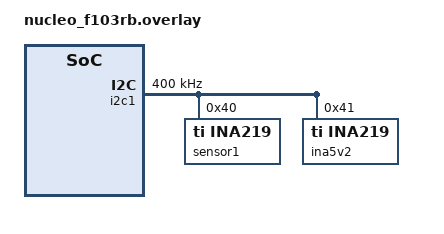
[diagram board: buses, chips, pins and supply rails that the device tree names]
/* SPDX-License-Identifier: Apache-2.0 */

#include <zephyr/dt-bindings/adc/adc.h>

/{
	zephyr,user {
		/* adjust channel number according to pinmux in board.dts */
		// io-channels = <&adc1 0>;
	};
	aliases {
		uart-obc = &usart1;
	};
};

&usart1 {
	dmas = <&dma1 4 0x440>,
	       <&dma1 5 0x480>;
	dma-names = "tx", "rx";
};

&dma1 {
	status = "okay";
};

&i2c1 {
	compatible="st,stm32-i2c-v1";
	status = "okay";
    clock-frequency = <I2C_BITRATE_FAST>;

	sensor1: ina219@40 {
		status = "okay";
		compatible = "ti,ina219";
		reg = <0x40>;
		brng = <0>;
		pg = <0>;
		sadc = <13>;
		badc = <13>;
		shunt-milliohm = <100>;
		lsb-microamp = <10>;
	};

	sensor2: ina219@41 {
		compatible = "ti,ina219";
		reg = <0x41>;
		label = "ina5v2";
		shunt-milliohm = <100>;
		lsb-microamp = <10>;
	};

	/*
	sensor3: ina219@42 {
	    compatible = "ti,ina219";
	    reg = <0x42>;
	    label = "ina3v1";
	    shunt-milliohm = <100>;
	    lsb-microamp = <10>;
	};

	sensor4: ina219@43 {
	    compatible = "ti,ina219";
	    reg = <0x43>;
	    label = "ina3v2";
	    shunt-milliohm = <100>;
	    lsb-microamp = <10>;
	};

	sensor5: ina219@44 {
	    compatible = "ti,ina219";
	    reg = <0x44>;
	    label = "VB1";
	    shunt-milliohm = <100>;
	    lsb-microamp = <10>;
	};

	sensor6: ina219@45 {
	 	compatible = "ti,ina219";
	 	reg = <0x45>;
	 	label = "VB2";
	 	shunt-milliohm = <100>;
	 	lsb-microamp = <10>;
	};

	sensor7: ina219@46 {
	 	compatible = "ti,ina219";
	 	reg = <0x46>;
	 	label = "PACK+";
	 	shunt-milliohm = <100>;
	 	lsb-microamp = <10>;
	};
	
	sensor8: ina219@47 {
	  	compatible = "ti,ina219";
	 	reg = <0x47>;
	 	label = "VMPPT";
	 	shunt-milliohm = <100>;
	    lsb-microamp = <10>;
	};
	*/

};

/*
&adc1 {
 	#address-cells = <1>;
 	#size-cells = <0>;

 	channel@0 {
 		reg = <0>;
 		zephyr,gain = "ADC_GAIN_1";
 		zephyr,reference = "ADC_REF_INTERNAL";
 		zephyr,acquisition-time = <ADC_ACQ_TIME_DEFAULT>;
 		zephyr,resolution = <12>;
		
 	};
};
*/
